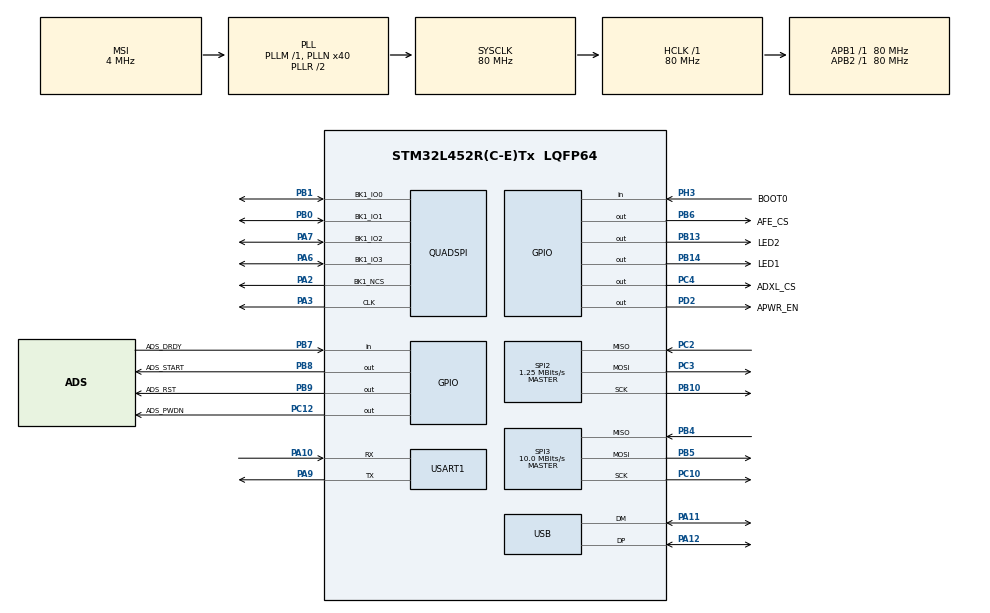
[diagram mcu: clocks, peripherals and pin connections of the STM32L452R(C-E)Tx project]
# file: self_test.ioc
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Mcu.Family=STM32L4
Mcu.Name=STM32L452R(C-E)Tx
Mcu.Package=LQFP64
NVIC.PriorityGroup=NVIC_PRIORITYGROUP_4
NVIC.USB_IRQn=true\:0\:0\:false\:false\:true\:false\:true
PA0.Mode=SYS_WakeUp0
PA0.Signal=SYS_WKUP1
PA10.Mode=Asynchronous
PA10.Signal=USART1_RX
PA11.Mode=Device
PA11.Signal=USB_DM
PA12.Mode=Device
PA12.Signal=USB_DP
PA13\ (JTMS/SWDIO).Mode=JTAG_4_pins
PA13\ (JTMS/SWDIO).Signal=SYS_JTMS-SWDIO
PA14\ (JTCK/SWCLK).Mode=JTAG_4_pins
PA14\ (JTCK/SWCLK).Signal=SYS_JTCK-SWCLK
PA15\ (JTDI).Mode=JTAG_4_pins
PA15\ (JTDI).Signal=SYS_JTDI
PA2.Mode=Single Bank 1
PA2.Signal=QUADSPI_BK1_NCS
PA3.Mode=Single Bank 1
PA3.Signal=QUADSPI_CLK
PA6.Mode=Single Bank 1
PA6.Signal=QUADSPI_BK1_IO3
PA7.Mode=Single Bank 1
PA7.Signal=QUADSPI_BK1_IO2
PA9.Mode=Asynchronous
PA9.Signal=USART1_TX
PB0.Mode=Single Bank 1
PB0.Signal=QUADSPI_BK1_IO1
PB1.Mode=Single Bank 1
PB1.Signal=QUADSPI_BK1_IO0
PB10.Mode=Full_Duplex_Master
PB10.Signal=SPI2_SCK
PB13.GPIO_Label=LED2
PB13.Signal=GPIO_Output
PB14.GPIO_Label=LED1
PB14.Signal=GPIO_Output
PB3\ (JTDO/TRACESWO).Mode=JTAG_4_pins
PB3\ (JTDO/TRACESWO).Signal=SYS_JTDO-SWO
PB4\ (NJTRST).Mode=Full_Duplex_Master
PB4\ (NJTRST).Signal=SPI3_MISO
PB5.Mode=Full_Duplex_Master
PB5.Signal=SPI3_MOSI
PB6.GPIO_Label=AFE_CS
PB6.PinState=GPIO_PIN_SET
PB6.Signal=GPIO_Output
PB7.GPIO_Label=ADS_DRDY
PB7.Signal=GPIO_Input
PB8.GPIO_Label=ADS_START
PB8.Signal=GPIO_Output
PB9.GPIO_Label=ADS_RST
PB9.Signal=GPIO_Output
PC10.Mode=Full_Duplex_Master
PC10.Signal=SPI3_SCK
PC12.GPIO_Label=ADS_PWDN
PC12.Signal=GPIO_Output
PC14-OSC32_IN\ (PC14).Mode=LSE-External-Oscillator
PC14-OSC32_IN\ (PC14).Signal=RCC_OSC32_IN
PC15-OSC32_OUT\ (PC15).Mode=LSE-External-Oscillator
PC15-OSC32_OUT\ (PC15).Signal=RCC_OSC32_OUT
PC2.Mode=Full_Duplex_Master
PC2.Signal=SPI2_MISO
PC3.Mode=Full_Duplex_Master
PC3.Signal=SPI2_MOSI
PC4.GPIO_Label=ADXL_CS
PC4.PinState=GPIO_PIN_SET
PC4.Signal=GPIO_Output
PD2.GPIO_Label=APWR_EN
PD2.Signal=GPIO_Output
PH3-BOOT0\ (BOOT0).GPIO_Label=BOOT0
PH3-BOOT0\ (BOOT0).Signal=GPIO_Input
ProjectManager.HeapSize=0x200
ProjectManager.StackSize=0x400
ProjectManager.TargetToolchain=STM32CubeIDE
RCC.ADCFreq_Value=48000000
RCC.AHBFreq_Value=80000000
RCC.APB1Freq_Value=80000000
RCC.APB1TimFreq_Value=80000000
RCC.APB2Freq_Value=80000000
RCC.APB2TimFreq_Value=80000000
RCC.CortexFreq_Value=80000000
RCC.HCLKFreq_Value=80000000
RCC.HSE_VALUE=8000000
RCC.HSI48_VALUE=48000000
RCC.HSI_VALUE=16000000
RCC.MSI_VALUE=4000000
RCC.PLLN=40
RCC.PLLSAI1N=24
RCC.SYSCLKFreq_VALUE=80000000
RCC.SYSCLKSource=RCC_SYSCLKSOURCE_PLLCLK
RCC.USBFreq_Value=48000000
RCC.VCOOutputFreq_Value=160000000
SPI2.BaudRatePrescaler=SPI_BAUDRATEPRESCALER_64
SPI2.CalculateBaudRate=1.25 MBits/s
SPI2.DataSize=SPI_DATASIZE_8BIT
SPI2.Direction=SPI_DIRECTION_2LINES
SPI2.Mode=SPI_MODE_MASTER
SPI2.VirtualType=VM_MASTER
SPI3.BaudRatePrescaler=SPI_BAUDRATEPRESCALER_8
SPI3.CalculateBaudRate=10.0 MBits/s
SPI3.DataSize=SPI_DATASIZE_8BIT
SPI3.Direction=SPI_DIRECTION_2LINES
SPI3.Mode=SPI_MODE_MASTER
SPI3.VirtualType=VM_MASTER
USART1.VirtualMode-Asynchronous=VM_ASYNC
USB_DEVICE.CLASS_NAME_FS=CDC
USB_DEVICE.PID_CDC_FS=11111
USB_DEVICE.PRODUCT_STRING_CDC_FS=ACE Mini EEG
USB_DEVICE.VID=10101
USB_DEVICE.VirtualMode=Cdc
USB_DEVICE.VirtualModeFS=Cdc_FS
VP_USB_DEVICE_VS_USB_DEVICE_CDC_FS.Mode=CDC_FS
board=custom

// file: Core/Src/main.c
/* USER CODE BEGIN Header */
/**
  ******************************************************************************
  * @file           : main.c
  * @brief          : Main program body
  ******************************************************************************
  * @attention
  *
  * <h2><center>&copy; Copyright (c) 2021 STMicroelectronics.
  * All rights reserved.</center></h2>
  *
  * This software component is licensed by ST under BSD 3-Clause license,
  * the "License"; You may not use this file except in compliance with the
  * License. You may obtain a copy of the License at:
  *                        opensource.org/licenses/BSD-3-Clause
  *
  ******************************************************************************
  */
/* USER CODE END Header */
#include "main.h"
#include "usb_device.h"

/* USER CODE BEGIN Includes */

//registers and expected responses

//accel
//out
#define AD_R 0x00
#define PRODUCT_R 0x03
//in
#define DEVID_AD 0xAD
#define DEVID_PRODUCT 0xFA //372 Octal

//afe
//out
#define CONFIG1_R 0x01
//in
#define ADS_CONFIG1 0x96

//mem
//out
#define RDID_R 0x9F
//in (3 byte sequential response)
#define MFG_ID 0xC2
#define MEM_T 0x28
#define MEM_D 0x17

/* USER CODE END Includes */

QSPI_HandleTypeDef hqspi;

SPI_HandleTypeDef hspi2;
SPI_HandleTypeDef hspi3;

UART_HandleTypeDef huart1;

void SystemClock_Config(void);
static void MX_GPIO_Init(void);
static void MX_SPI3_Init(void);
static void MX_USART1_UART_Init(void);
static void MX_QUADSPI_Init(void);
static void MX_SPI2_Init(void);
/* USER CODE BEGIN PFP */
static uint8_t query(void);

static void report(uint8_t);

/* USER CODE END PFP */

int main(void)
{

  /* MCU Configuration--------------------------------------------------------*/

  /* Reset of all peripherals, Initializes the Flash interface and the Systick. */
  HAL_Init();

  /* Configure the system clock */
  SystemClock_Config();

  /* Initialize all configured peripherals */
  MX_GPIO_Init();
  MX_SPI3_Init();
  MX_USART1_UART_Init();
  MX_USB_DEVICE_Init();
  MX_QUADSPI_Init();
  MX_SPI2_Init();
  /* USER CODE BEGIN 2 */
  //start up LED sequence
  GPIOB->ODR |= (LED1_Pin | LED2_Pin); //mask on both LEDs at once
  HAL_Delay(250);
  GPIOB->ODR ^= (LED1_Pin | LED2_Pin); //mask off both LEDs at once
  HAL_Delay(250);
  GPIOB->ODR |= (LED1_Pin | LED2_Pin); //mask on both LEDs at once
  HAL_Delay(250);
  GPIOB->ODR ^= (LED1_Pin | LED2_Pin); //mask off both LEDs at once
  HAL_Delay(250);

  char test_phrase[] = "Testing...";
  HAL_UART_Transmit(&huart1, (uint8_t *) &test_phrase, sizeof test_phrase, HAL_MAX_DELAY);

  uint8_t test = query();

  GPIOB->ODR |= (LED1_Pin); //mask LED1
  HAL_Delay(250);
  GPIOB->ODR ^= (LED1_Pin | LED2_Pin); //swap to LED2
  HAL_Delay(250);
  GPIOB->ODR ^= (LED1_Pin | LED2_Pin); //back to LED1
  HAL_Delay(250);
  GPIOB->ODR ^= (LED1_Pin | LED2_Pin); //back to LED2
  HAL_Delay(250);
  GPIOB->ODR ^= (LED2_Pin); //end sequence
  /* USER CODE END 2 */

  /* Infinite loop */
  while (1)
  {

    /* USER CODE BEGIN 3 */
	  report(test);
	  HAL_Delay(250);
  }
  /* USER CODE END 3 */
}

void SystemClock_Config(void)
{
  RCC_OscInitTypeDef RCC_OscInitStruct = {0};
  RCC_ClkInitTypeDef RCC_ClkInitStruct = {0};
  RCC_PeriphCLKInitTypeDef PeriphClkInit = {0};

  /** Configure LSE Drive Capability
  */
  HAL_PWR_EnableBkUpAccess();
  __HAL_RCC_LSEDRIVE_CONFIG(RCC_LSEDRIVE_LOW);
  /** Initializes the RCC Oscillators according to the specified parameters
  * in the RCC_OscInitTypeDef structure.
  */
  RCC_OscInitStruct.OscillatorType = RCC_OSCILLATORTYPE_LSE|RCC_OSCILLATORTYPE_MSI;
  RCC_OscInitStruct.LSEState = RCC_LSE_ON;
  RCC_OscInitStruct.MSIState = RCC_MSI_ON;
  RCC_OscInitStruct.MSICalibrationValue = 0;
  RCC_OscInitStruct.MSIClockRange = RCC_MSIRANGE_6;
  RCC_OscInitStruct.PLL.PLLState = RCC_PLL_ON;
  RCC_OscInitStruct.PLL.PLLSource = RCC_PLLSOURCE_MSI;
  RCC_OscInitStruct.PLL.PLLM = 1;
  RCC_OscInitStruct.PLL.PLLN = 40;
  RCC_OscInitStruct.PLL.PLLP = RCC_PLLP_DIV7;
  RCC_OscInitStruct.PLL.PLLQ = RCC_PLLQ_DIV2;
  RCC_OscInitStruct.PLL.PLLR = RCC_PLLR_DIV2;
  if (HAL_RCC_OscConfig(&RCC_OscInitStruct) != HAL_OK)
  {
    Error_Handler();
  }
  /** Initializes the CPU, AHB and APB buses clocks
  */
  RCC_ClkInitStruct.ClockType = RCC_CLOCKTYPE_HCLK|RCC_CLOCKTYPE_SYSCLK
                              |RCC_CLOCKTYPE_PCLK1|RCC_CLOCKTYPE_PCLK2;
  RCC_ClkInitStruct.SYSCLKSource = RCC_SYSCLKSOURCE_PLLCLK;
  RCC_ClkInitStruct.AHBCLKDivider = RCC_SYSCLK_DIV1;
  RCC_ClkInitStruct.APB1CLKDivider = RCC_HCLK_DIV1;
  RCC_ClkInitStruct.APB2CLKDivider = RCC_HCLK_DIV1;

  if (HAL_RCC_ClockConfig(&RCC_ClkInitStruct, FLASH_LATENCY_4) != HAL_OK)
  {
    Error_Handler();
  }
  PeriphClkInit.PeriphClockSelection = RCC_PERIPHCLK_USART1|RCC_PERIPHCLK_USB;
  PeriphClkInit.Usart1ClockSelection = RCC_USART1CLKSOURCE_PCLK2;
  PeriphClkInit.UsbClockSelection = RCC_USBCLKSOURCE_PLLSAI1;
  PeriphClkInit.PLLSAI1.PLLSAI1Source = RCC_PLLSOURCE_MSI;
  PeriphClkInit.PLLSAI1.PLLSAI1M = 1;
  PeriphClkInit.PLLSAI1.PLLSAI1N = 24;
  PeriphClkInit.PLLSAI1.PLLSAI1P = RCC_PLLP_DIV7;
  PeriphClkInit.PLLSAI1.PLLSAI1Q = RCC_PLLQ_DIV2;
  PeriphClkInit.PLLSAI1.PLLSAI1R = RCC_PLLR_DIV2;
  PeriphClkInit.PLLSAI1.PLLSAI1ClockOut = RCC_PLLSAI1_48M2CLK;
  if (HAL_RCCEx_PeriphCLKConfig(&PeriphClkInit) != HAL_OK)
  {
    Error_Handler();
  }
  /** Configure the main internal regulator output voltage
  */
  if (HAL_PWREx_ControlVoltageScaling(PWR_REGULATOR_VOLTAGE_SCALE1) != HAL_OK)
  {
    Error_Handler();
  }
  /** Enable MSI Auto calibration
  */
  HAL_RCCEx_EnableMSIPLLMode();
}

static void MX_QUADSPI_Init(void)
{

  /* QUADSPI parameter configuration*/
  hqspi.Instance = QUADSPI;
  hqspi.Init.ClockPrescaler = 255;
  hqspi.Init.FifoThreshold = 1;
  hqspi.Init.SampleShifting = QSPI_SAMPLE_SHIFTING_NONE;
  hqspi.Init.FlashSize = 1;
  hqspi.Init.ChipSelectHighTime = QSPI_CS_HIGH_TIME_1_CYCLE;
  hqspi.Init.ClockMode = QSPI_CLOCK_MODE_0;
  hqspi.Init.FlashID = QSPI_FLASH_ID_1;
  hqspi.Init.DualFlash = QSPI_DUALFLASH_DISABLE;
  if (HAL_QSPI_Init(&hqspi) != HAL_OK)
  {
    Error_Handler();
  }

}

static void MX_SPI2_Init(void)
{

  /* SPI2 parameter configuration*/
  hspi2.Instance = SPI2;
  hspi2.Init.Mode = SPI_MODE_MASTER;
  hspi2.Init.Direction = SPI_DIRECTION_2LINES;
  hspi2.Init.DataSize = SPI_DATASIZE_8BIT;
  hspi2.Init.CLKPolarity = SPI_POLARITY_LOW;
  hspi2.Init.CLKPhase = SPI_PHASE_1EDGE;
  hspi2.Init.NSS = SPI_NSS_SOFT;
  hspi2.Init.BaudRatePrescaler = SPI_BAUDRATEPRESCALER_64;
  hspi2.Init.FirstBit = SPI_FIRSTBIT_MSB;
  hspi2.Init.TIMode = SPI_TIMODE_DISABLE;
  hspi2.Init.CRCCalculation = SPI_CRCCALCULATION_DISABLE;
  hspi2.Init.CRCPolynomial = 7;
  hspi2.Init.CRCLength = SPI_CRC_LENGTH_DATASIZE;
  hspi2.Init.NSSPMode = SPI_NSS_PULSE_ENABLE;
  if (HAL_SPI_Init(&hspi2) != HAL_OK)
  {
    Error_Handler();
  }

}

static void MX_SPI3_Init(void)
{

  /* SPI3 parameter configuration*/
  hspi3.Instance = SPI3;
  hspi3.Init.Mode = SPI_MODE_MASTER;
  hspi3.Init.Direction = SPI_DIRECTION_2LINES;
  hspi3.Init.DataSize = SPI_DATASIZE_8BIT;
  hspi3.Init.CLKPolarity = SPI_POLARITY_LOW;
  hspi3.Init.CLKPhase = SPI_PHASE_1EDGE;
  hspi3.Init.NSS = SPI_NSS_SOFT;
  hspi3.Init.BaudRatePrescaler = SPI_BAUDRATEPRESCALER_8;
  hspi3.Init.FirstBit = SPI_FIRSTBIT_MSB;
  hspi3.Init.TIMode = SPI_TIMODE_DISABLE;
  hspi3.Init.CRCCalculation = SPI_CRCCALCULATION_DISABLE;
  hspi3.Init.CRCPolynomial = 7;
  hspi3.Init.CRCLength = SPI_CRC_LENGTH_DATASIZE;
  hspi3.Init.NSSPMode = SPI_NSS_PULSE_ENABLE;
  if (HAL_SPI_Init(&hspi3) != HAL_OK)
  {
    Error_Handler();
  }

}

static void MX_USART1_UART_Init(void)
{

  huart1.Instance = USART1;
  huart1.Init.BaudRate = 115200;
  huart1.Init.WordLength = UART_WORDLENGTH_8B;
  huart1.Init.StopBits = UART_STOPBITS_1;
  huart1.Init.Parity = UART_PARITY_NONE;
  huart1.Init.Mode = UART_MODE_TX_RX;
  huart1.Init.HwFlowCtl = UART_HWCONTROL_NONE;
  huart1.Init.OverSampling = UART_OVERSAMPLING_16;
  huart1.Init.OneBitSampling = UART_ONE_BIT_SAMPLE_DISABLE;
  huart1.AdvancedInit.AdvFeatureInit = UART_ADVFEATURE_NO_INIT;
  if (HAL_UART_Init(&huart1) != HAL_OK)
  {
    Error_Handler();
  }

}

static void MX_GPIO_Init(void)
{
  GPIO_InitTypeDef GPIO_InitStruct = {0};

  /* GPIO Ports Clock Enable */
  __HAL_RCC_GPIOC_CLK_ENABLE();
  __HAL_RCC_GPIOA_CLK_ENABLE();
  __HAL_RCC_GPIOB_CLK_ENABLE();
  __HAL_RCC_GPIOD_CLK_ENABLE();
  __HAL_RCC_GPIOH_CLK_ENABLE();

  /*Configure GPIO pin Output Level */
  HAL_GPIO_WritePin(ADXL_CS_GPIO_Port, ADXL_CS_Pin, GPIO_PIN_SET);

  /*Configure GPIO pin Output Level */
  HAL_GPIO_WritePin(GPIOB, LED2_Pin|LED1_Pin|ADS_START_Pin|ADS_RST_Pin, GPIO_PIN_RESET);

  /*Configure GPIO pin Output Level */
  HAL_GPIO_WritePin(ADS_PWDN_GPIO_Port, ADS_PWDN_Pin, GPIO_PIN_RESET);

  /*Configure GPIO pin Output Level */
  HAL_GPIO_WritePin(APWR_EN_GPIO_Port, APWR_EN_Pin, GPIO_PIN_RESET);

  /*Configure GPIO pin Output Level */
  HAL_GPIO_WritePin(AFE_CS_GPIO_Port, AFE_CS_Pin, GPIO_PIN_SET);

  /*Configure GPIO pins : ADXL_CS_Pin ADS_PWDN_Pin */
  GPIO_InitStruct.Pin = ADXL_CS_Pin|ADS_PWDN_Pin;
  GPIO_InitStruct.Mode = GPIO_MODE_OUTPUT_PP;
  GPIO_InitStruct.Pull = GPIO_NOPULL;
  GPIO_InitStruct.Speed = GPIO_SPEED_FREQ_LOW;
  HAL_GPIO_Init(GPIOC, &GPIO_InitStruct);

  /*Configure GPIO pins : LED2_Pin LED1_Pin AFE_CS_Pin ADS_START_Pin
                           ADS_RST_Pin */
  GPIO_InitStruct.Pin = LED2_Pin|LED1_Pin|AFE_CS_Pin|ADS_START_Pin
                          |ADS_RST_Pin;
  GPIO_InitStruct.Mode = GPIO_MODE_OUTPUT_PP;
  GPIO_InitStruct.Pull = GPIO_NOPULL;
  GPIO_InitStruct.Speed = GPIO_SPEED_FREQ_LOW;
  HAL_GPIO_Init(GPIOB, &GPIO_InitStruct);

  /*Configure GPIO pin : APWR_EN_Pin */
  GPIO_InitStruct.Pin = APWR_EN_Pin;
  GPIO_InitStruct.Mode = GPIO_MODE_OUTPUT_PP;
  GPIO_InitStruct.Pull = GPIO_NOPULL;
  GPIO_InitStruct.Speed = GPIO_SPEED_FREQ_LOW;
  HAL_GPIO_Init(APWR_EN_GPIO_Port, &GPIO_InitStruct);

  /*Configure GPIO pin : ADS_DRDY_Pin */
  GPIO_InitStruct.Pin = ADS_DRDY_Pin;
  GPIO_InitStruct.Mode = GPIO_MODE_INPUT;
  GPIO_InitStruct.Pull = GPIO_NOPULL;
  HAL_GPIO_Init(ADS_DRDY_GPIO_Port, &GPIO_InitStruct);

  /*Configure GPIO pin : BOOT0_Pin */
  GPIO_InitStruct.Pin = BOOT0_Pin;
  GPIO_InitStruct.Mode = GPIO_MODE_INPUT;
  GPIO_InitStruct.Pull = GPIO_NOPULL;
  HAL_GPIO_Init(BOOT0_GPIO_Port, &GPIO_InitStruct);

}

/* USER CODE BEGIN 4 */
static uint8_t query(void) {
	union {
		uint8_t report;
		struct {
			uint8_t d_care : 4;
			uint8_t accel_pass : 1;
			uint8_t afe_pass : 1;
			uint8_t mem_pass : 1;
			uint8_t apwr_pass : 1;
		} bits;
	} report_bit_field;

	report_bit_field.report = 0x00;

	//query ADXL372

	uint8_t ad_tx = (PRODUCT_R << 1) | 0x01;
	uint8_t ad_token;

	HAL_GPIO_TogglePin(ADXL_CS_GPIO_Port, ADXL_CS_Pin);
	HAL_SPI_Transmit(&hspi2, &ad_tx, 1, HAL_MAX_DELAY);
	HAL_SPI_Receive(&hspi2, &ad_token, 1, HAL_MAX_DELAY);
	HAL_GPIO_TogglePin(ADXL_CS_GPIO_Port, ADXL_CS_Pin);

	report_bit_field.bits.accel_pass = (DEVID_PRODUCT == ad_token);

	//query ADS1299

	uint8_t af_tx[] = {0b00100001, 0b00000001}; //read reg 0x00 of 1 byte length
	uint8_t af_rx;

	HAL_GPIO_TogglePin(AFE_CS_GPIO_Port, AFE_CS_Pin);
	HAL_SPI_Transmit(&hspi3, (uint8_t *)&af_tx, sizeof af_tx, HAL_MAX_DELAY);
	HAL_SPI_Receive(&hspi3, &af_rx, 1, HAL_MAX_DELAY);
	HAL_GPIO_TogglePin(AFE_CS_GPIO_Port, AFE_CS_Pin);

	report_bit_field.bits.afe_pass = (0x96 == af_rx);

	//query MX25R64

	return report_bit_field.report;
}

static void report(uint8_t test_reg) {
	//send uart

	//send USB

	//blink pattern
}

/* USER CODE END 4 */

void Error_Handler(void)
{
  __disable_irq();
  while (1)
  {
  }
}

/************************ (C) COPYRIGHT STMicroelectronics *****END OF FILE****/
